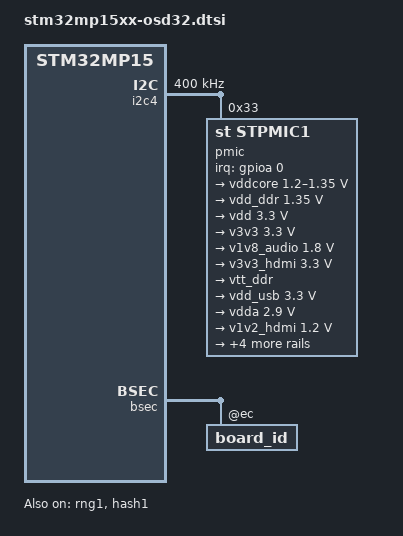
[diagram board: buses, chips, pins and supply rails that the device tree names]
/* SPDX-License-Identifier: (GPL-2.0-or-later OR BSD-3-Clause) */
/*
 * Copyright (C) 2020 STMicroelectronics - All Rights Reserved
 * Copyright (C) 2020 Ahmad Fatoum, Pengutronix
 */

#include "stm32mp15-pinctrl.dtsi"

&i2c4 {
	pinctrl-names = "default";
	pinctrl-0 = <&i2c4_pins_a>;
	clock-frequency = <400000>;
	i2c-scl-rising-time-ns = <185>;
	i2c-scl-falling-time-ns = <20>;
	status = "okay";

	pmic: stpmic@33 {
		compatible = "st,stpmic1";
		reg = <0x33>;
		interrupts-extended = <&gpioa 0 IRQ_TYPE_EDGE_FALLING>;
		interrupt-controller;
		#interrupt-cells = <2>;

		regulators {
			compatible = "st,stpmic1-regulators";

			ldo1-supply = <&v3v3>;
			ldo6-supply = <&v3v3>;
			pwr_sw1-supply = <&bst_out>;

			vddcore: buck1 {
				regulator-name = "vddcore";
				regulator-min-microvolt = <1200000>;
				regulator-max-microvolt = <1350000>;
				regulator-always-on;
				regulator-initial-mode = <0>;
				regulator-over-current-protection;
			};

			vdd_ddr: buck2 {
				regulator-name = "vdd_ddr";
				regulator-min-microvolt = <1350000>;
				regulator-max-microvolt = <1350000>;
				regulator-always-on;
				regulator-initial-mode = <0>;
				regulator-over-current-protection;
			};

			vdd: buck3 {
				regulator-name = "vdd";
				regulator-min-microvolt = <3300000>;
				regulator-max-microvolt = <3300000>;
				regulator-always-on;
				st,mask-reset;
				regulator-initial-mode = <0>;
				regulator-over-current-protection;
			};

			v3v3: buck4 {
				regulator-name = "v3v3";
				regulator-min-microvolt = <3300000>;
				regulator-max-microvolt = <3300000>;
				regulator-always-on;
				regulator-over-current-protection;
				regulator-initial-mode = <0>;
			};

			v1v8_audio: ldo1 {
				regulator-name = "v1v8_audio";
				regulator-min-microvolt = <1800000>;
				regulator-max-microvolt = <1800000>;
				regulator-always-on;
			};

			v3v3_hdmi: ldo2 {
				regulator-name = "v3v3_hdmi";
				regulator-min-microvolt = <3300000>;
				regulator-max-microvolt = <3300000>;
				regulator-always-on;
			};

			vtt_ddr: ldo3 {
				regulator-name = "vtt_ddr";
				regulator-always-on;
				regulator-over-current-protection;
				st,regulator-sink-source;
			};

			vdd_usb: ldo4 {
				regulator-name = "vdd_usb";
				regulator-min-microvolt = <3300000>;
				regulator-max-microvolt = <3300000>;
			};

			vdda: ldo5 {
				regulator-name = "vdda";
				regulator-min-microvolt = <2900000>;
				regulator-max-microvolt = <2900000>;
				regulator-boot-on;
			};

			v1v2_hdmi: ldo6 {
				regulator-name = "v1v2_hdmi";
				regulator-min-microvolt = <1200000>;
				regulator-max-microvolt = <1200000>;
				regulator-always-on;
			};

			vref_ddr: vref_ddr {
				regulator-name = "vref_ddr";
				regulator-always-on;
			};

			bst_out: boost {
				regulator-name = "bst_out";
			};

			vbus_otg: pwr_sw1 {
				regulator-name = "vbus_otg";
				regulator-active-discharge;
			};

			vbus_sw: pwr_sw2 {
				regulator-name = "vbus_sw";
				regulator-active-discharge;
			};
		};

		pmic_watchdog: watchdog {
			compatible = "st,stpmic1-wdt";
			status = "disabled";
		};
	};
};

&rng1 {
	status = "okay";
};

/* ATF Specific */
#include <dt-bindings/clock/stm32mp1-clksrc.h>

/ {
	aliases {
		gpio0 = &gpioa;
		gpio1 = &gpiob;
		gpio2 = &gpioc;
		gpio3 = &gpiod;
		gpio4 = &gpioe;
		gpio5 = &gpiof;
		gpio6 = &gpiog;
		gpio7 = &gpioh;
		gpio8 = &gpioi;
		gpio25 = &gpioz;
		i2c3 = &i2c4;
	};
};

&bsec {
	board_id: board_id@ec {
		reg = <0xec 0x4>;
		st,non-secure-otp;
	};
};

&clk_hse {
	st,digbypass;
};

&cpu0 {
	cpu-supply = <&vddcore>;
};

&cpu1 {
	cpu-supply = <&vddcore>;
};

&hash1 {
	status = "okay";
};

/* CLOCK init */
&rcc {
	st,clksrc = <
		CLK_MPU_PLL1P
		CLK_AXI_PLL2P
		CLK_MCU_PLL3P
		CLK_PLL12_HSE
		CLK_PLL3_HSE
		CLK_PLL4_HSE
		CLK_RTC_LSE
		CLK_MCO1_DISABLED
		CLK_MCO2_DISABLED
	>;

	st,clkdiv = <
		1 /*MPU*/
		0 /*AXI*/
		0 /*MCU*/
		1 /*APB1*/
		1 /*APB2*/
		1 /*APB3*/
		1 /*APB4*/
		2 /*APB5*/
		23 /*RTC*/
		0 /*MCO1*/
		0 /*MCO2*/
	>;

	st,pkcs = <
		CLK_CKPER_HSE
		CLK_FMC_ACLK
		CLK_QSPI_ACLK
		CLK_ETH_PLL4P
		CLK_SDMMC12_PLL4P
		CLK_DSI_DSIPLL
		CLK_STGEN_HSE
		CLK_USBPHY_HSE
		CLK_SPI2S1_PLL3Q
		CLK_SPI2S23_PLL3Q
		CLK_SPI45_HSI
		CLK_SPI6_HSI
		CLK_I2C46_HSI
		CLK_SDMMC3_PLL4P
		CLK_USBO_USBPHY
		CLK_ADC_CKPER
		CLK_CEC_LSE
		CLK_I2C12_HSI
		CLK_I2C35_HSI
		CLK_UART1_HSI
		CLK_UART24_HSI
		CLK_UART35_HSI
		CLK_UART6_HSI
		CLK_UART78_HSI
		CLK_SPDIF_PLL4P
		CLK_FDCAN_PLL4R
		CLK_SAI1_PLL3Q
		CLK_SAI2_PLL3Q
		CLK_SAI3_PLL3Q
		CLK_SAI4_PLL3Q
		CLK_RNG1_LSI
		CLK_RNG2_LSI
		CLK_LPTIM1_PCLK1
		CLK_LPTIM23_PCLK3
		CLK_LPTIM45_LSE
	>;

	/* VCO = 1300.0 MHz => P = 650 (CPU) */
	pll1: st,pll@0 {
		compatible = "st,stm32mp1-pll";
		reg = <0>;
		cfg = < 2 80 0 0 0 PQR(1,0,0) >;
		frac = < 0x800 >;
	};

	/* VCO = 1066.0 MHz => P = 266 (AXI), Q = 533 (GPU), R = 533 (DDR) */
	pll2: st,pll@1 {
		compatible = "st,stm32mp1-pll";
		reg = <1>;
		cfg = <2 65 1 0 0 PQR(1,1,1)>;
		frac = <0x1400>;
	};

	/* VCO = 417.8 MHz => P = 209, Q = 24, R = 11 */
	pll3: st,pll@2 {
		compatible = "st,stm32mp1-pll";
		reg = <2>;
		cfg = <1 33 1 16 36 PQR(1,1,1)>;
		frac = <0x1a04>;
	};

	/* VCO = 594.0 MHz => P = 99, Q = 74, R = 74 */
	pll4: st,pll@3 {
		compatible = "st,stm32mp1-pll";
		reg = <3>;
		cfg = <3 98 5 7 7 PQR(1,1,1)>;
	};
};
